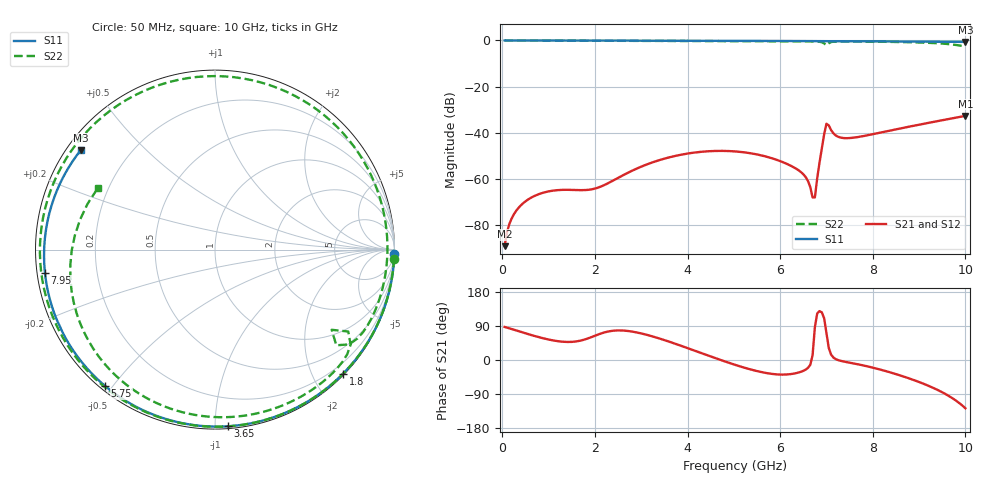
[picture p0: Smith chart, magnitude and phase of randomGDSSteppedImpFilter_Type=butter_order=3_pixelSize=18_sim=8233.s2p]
! freq	dB(S11)	phase(S11)	dB(S12)	phase(S12)
!  dB(S21)	phase(S21)	dB(S22)	phase(S22)
!S-par simulation data
#  GHz  S  DB  R 50
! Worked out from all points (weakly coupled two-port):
!   200 points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, 50 MHz to 10 GHz, reference 50 ohm
!   highest |S21| = -32.64 dB at 10 GHz (marker M1); lowest = -89.1 dB at 50 MHz (marker M2)
!   lowest |S11| = -0.6 dB at 10 GHz (marker M3), VSWR 27.90, Z = 1.99 + j16.5 ohm
!   |S11| at or under -10 dB: nowhere
!   |S22| runs from -2.6 to 0.0 dB; largest |S21 - S12| = 0
!   S11 on the Smith chart (normalised r, x): 50 MHz: 1, -90; 1.8 GHz: 0.02, -2.47; 3.65 GHz: 0.01, -1.07; 5.75 GHz: 0.02, -0.48; 7.95 GHz: 0.02, -0.07; 10 GHz: 0.04, +0.33
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0.05  -0.00 -1.3  -89.06 87.2  -89.06 87.2  -0.01 -2.9
0.7  -0.02 -17.4  -67.27 63.2  -67.27 63.2  -0.05 -39.8
1.25  -0.04 -30.9  -64.72 48.9  -64.72 48.9  -0.09 -70.8
1.75  -0.05 -42.9  -64.80 53.0  -64.80 53.0  -0.12 -98.8
1.8  -0.06 -44.1  -64.76 54.8  -64.76 54.8  -0.13 -101.6
2.7  -0.08 -65.0  -57.40 76.8  -57.40 76.8  -0.18 -152.5
3.4  -0.11 -80.5  -51.75 56.5  -51.75 56.5  -0.23 166.4
3.65  -0.11 -85.9  -50.38 46.4  -50.38 46.4  -0.25 151.3
4.4  -0.14 -101.7  -48.03 13.8  -48.03 13.8  -0.28 105.2
5.05  -0.17 -115.0  -48.08 -13.7  -48.08 -13.7  -0.31 65.5
5.75  -0.21 -128.9  -50.57 -35.4  -50.57 -35.4  -0.32 25.4
6.45  -0.26 -142.6  -56.99 -31.0  -56.99 -31.0  -0.37 -11.0
6.6  -0.27 -145.6  -60.80 -21.0  -60.80 -21.0  -0.39 -18.5
6.7  -0.28 -147.5  -67.97 12.3  -67.97 12.3  -0.42 -23.6
6.75  -0.28 -148.5  -67.94 86.6  -67.94 86.6  -0.45 -26.2
7  -0.31 -153.4  -36.06 71.1  -36.06 71.1  -2.06 -34.5
7.3  -0.33 -159.3  -42.02 -2.0  -42.02 -2.0  -0.44 -46.3
7.95  -0.39 -172.3  -40.79 -18.6  -40.79 -18.6  -0.51 -74.3
8.35  -0.43 179.5  -39.11 -31.7  -39.11 -31.7  -0.61 -90.9
9.3  -0.54 159.3  -35.30 -73.3  -35.30 -73.3  -1.11 -137.4
9.7  -0.59 150.3  -33.79 -99.2  -33.79 -99.2  -1.71 -168.7
10  -0.62 143.3  -32.64 -127.4  -32.64 -127.4  -2.65 152.1
